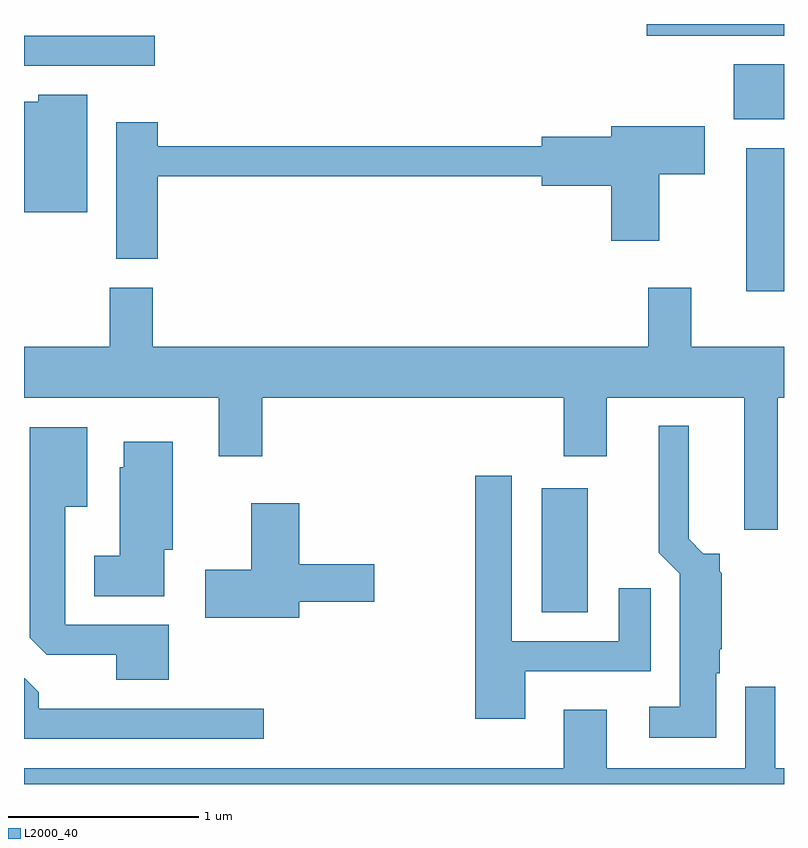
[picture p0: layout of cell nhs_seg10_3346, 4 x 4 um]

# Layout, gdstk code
import gdstk
lib = gdstk.Library(unit=1e-6, precision=1e-09)
def R(c, l, rs):  # rectangles x0, y0, x1, y1
    for r in rs: c.add(gdstk.rectangle(r[:2], r[2:], *l))
def P(c, l, *ps):  # polygons
    for p in ps: c.add(gdstk.Polygon(p, *l))
L2000_40 = (2000, 40)

nhs_seg10_3346 = lib.new_cell('nhs_seg10_3346')
R(nhs_seg10_3346, L2000_40, [(286.336,2139.426,286.579,2140.079), (287.411,2141.116,287.611,2141.869), (287.346,2142.021,287.611,2142.309), (283.611,2142.301,284.298,2142.459), (286.888,2142.461,287.611,2142.522)])
P(nhs_seg10_3346, L2000_40, [(283.944,2142.149),(283.686,2142.149),(283.686,2142.114),(283.611,2142.114),(283.611,2141.531),(283.944,2141.531)],
  [(284.314,2141.721),(286.336,2141.721),(286.336,2141.671),(286.701,2141.671),(286.701,2141.381),(286.954,2141.381),(286.954,2141.731),(287.194,2141.731),(287.194,2141.984),(286.701,2141.984),(286.701,2141.929),(286.336,2141.929),(286.336,2141.879),(284.314,2141.879),(284.314,2142.004),(284.096,2142.004),(284.096,2141.286),(284.314,2141.286)],
  [(287.579,2140.556),(287.611,2140.556),(287.611,2140.824),(287.124,2140.824),(287.124,2141.134),(286.896,2141.134),(286.896,2140.824),(284.289,2140.824),(284.289,2141.134),(284.061,2141.134),(284.061,2140.824),(283.611,2140.824),(283.611,2140.556),(284.636,2140.556),(284.636,2140.246),(284.864,2140.246),(284.864,2140.556),(286.451,2140.556),(286.451,2140.246),(286.679,2140.246),(286.679,2140.556),(287.401,2140.556),(287.401,2139.861),(287.579,2139.861)],
  [(287.254,2139.106),(287.274,2139.106),(287.274,2139.23),(287.284,2139.23),(287.284,2139.631),(287.274,2139.641),(287.274,2139.734),(287.187,2139.734),(287.109,2139.812),(287.109,2140.408),(286.951,2140.408),(286.951,2139.739),(287.061,2139.629),(287.061,2138.929),(286.903,2138.929),(286.903,2138.766),(287.254,2138.766)],
  [(284.374,2139.359),(283.829,2139.359),(283.829,2139.981),(283.944,2139.981),(283.944,2140.399),(283.641,2140.399),(283.641,2139.292),(283.732,2139.201),(284.096,2139.201),(284.096,2139.071),(284.374,2139.071)],
  [(284.349,2139.756),(284.394,2139.756),(284.394,2140.324),(284.136,2140.324),(284.136,2140.189),(284.116,2140.189),(284.116,2139.724),(283.981,2139.724),(283.981,2139.511),(284.349,2139.511)],
  [(286.249,2139.116),(286.909,2139.116),(286.909,2139.553),(286.741,2139.553),(286.741,2139.274),(286.179,2139.274),(286.179,2140.144),(285.986,2140.144),(285.986,2138.866),(286.249,2138.866)],
  [(285.059,2139.481),(285.454,2139.481),(285.454,2139.679),(285.059,2139.679),(285.059,2139.999),(284.806,2139.999),(284.806,2139.649),(284.566,2139.649),(284.566,2139.396),(285.059,2139.396)],
  [(284.873,2138.919),(283.689,2138.919),(283.689,2139.004),(283.614,2139.079),(283.611,2139.079),(283.611,2138.761),(284.873,2138.761)],
  [(287.611,2138.604),(287.564,2138.604),(287.564,2139.033),(287.406,2139.033),(287.406,2138.604),(286.679,2138.604),(286.679,2138.914),(286.451,2138.914),(286.451,2138.604),(283.611,2138.604),(283.611,2138.522),(287.611,2138.522)])

lib.write_gds('nhs_seg10_3346.gds')
